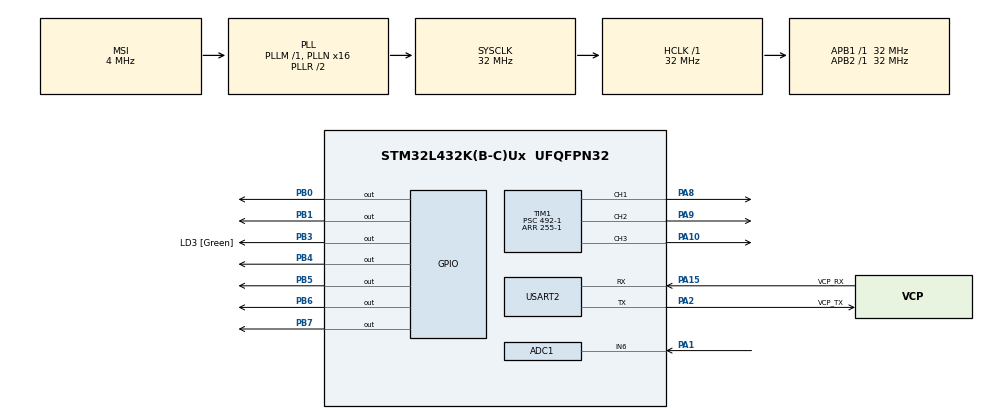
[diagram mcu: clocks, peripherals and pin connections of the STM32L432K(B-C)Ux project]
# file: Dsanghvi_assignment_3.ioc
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ADC1.Channel-0\#ChannelRegularConversion=ADC_CHANNEL_6
ADC1.NbrOfConversionFlag=1
ADC1.OffsetNumber-0\#ChannelRegularConversion=ADC_OFFSET_NONE
ADC1.Rank-0\#ChannelRegularConversion=1
ADC1.SamplingTime-0\#ChannelRegularConversion=ADC_SAMPLETIME_2CYCLES_5
ADC1.master=1
Mcu.Family=STM32L4
Mcu.Name=STM32L432K(B-C)Ux
Mcu.Package=UFQFPN32
NVIC.PriorityGroup=NVIC_PRIORITYGROUP_4
PA1.Signal=ADCx_IN6
PA10.Signal=S_TIM1_CH3
PA13\ (JTMS-SWDIO).GPIO_Label=SWDIO
PA13\ (JTMS-SWDIO).Mode=Serial_Wire
PA13\ (JTMS-SWDIO).Signal=SYS_JTMS-SWDIO
PA14\ (JTCK-SWCLK).GPIO_Label=SWCLK
PA14\ (JTCK-SWCLK).Mode=Serial_Wire
PA14\ (JTCK-SWCLK).Signal=SYS_JTCK-SWCLK
PA15\ (JTDI).GPIO_Label=VCP_RX
PA15\ (JTDI).Mode=Asynchronous
PA15\ (JTDI).Signal=USART2_RX
PA2.GPIO_Label=VCP_TX
PA2.Mode=Asynchronous
PA2.Signal=USART2_TX
PA8.Signal=S_TIM1_CH1
PA9.Signal=S_TIM1_CH2
PB0.Signal=GPIO_Output
PB1.Signal=GPIO_Output
PB3\ (JTDO-TRACESWO).GPIO_Label=LD3 [Green]
PB3\ (JTDO-TRACESWO).GPIO_PuPd=GPIO_NOPULL
PB3\ (JTDO-TRACESWO).Signal=GPIO_Output
PB4\ (NJTRST).Signal=GPIO_Output
PB5.Signal=GPIO_Output
PB6.Signal=GPIO_Output
PB7.Signal=GPIO_Output
PC14-OSC32_IN\ (PC14).Mode=LSE-External-Oscillator
PC14-OSC32_IN\ (PC14).Signal=RCC_OSC32_IN
PC15-OSC32_OUT\ (PC15).Mode=LSE-External-Oscillator
PC15-OSC32_OUT\ (PC15).Signal=RCC_OSC32_OUT
ProjectManager.HeapSize=0x200
ProjectManager.StackSize=0x400
ProjectManager.TargetToolchain=STM32CubeIDE
RCC.ADCFreq_Value=32000000
RCC.AHBFreq_Value=32000000
RCC.APB1Freq_Value=32000000
RCC.APB1TimFreq_Value=32000000
RCC.APB2Freq_Value=32000000
RCC.APB2TimFreq_Value=32000000
RCC.CortexFreq_Value=32000000
RCC.HCLKFreq_Value=32000000
RCC.HSE_VALUE=8000000
RCC.HSI16_VALUE=16000000
RCC.HSI48_VALUE=48000000
RCC.HSI_VALUE=16000000
RCC.MSI_VALUE=4000000
RCC.PLLMUL=RCC_PLLMUL_4
RCC.PLLN=16
RCC.PLLSAI1N=16
RCC.SYSCLKFreq_VALUE=32000000
RCC.SYSCLKSource=RCC_SYSCLKSOURCE_PLLCLK
RCC.USBFreq_Value=32000000
RCC.VCOOutputFreq_Value=64000000
SH.ADCx_IN6.0=ADC1_IN6,IN6-Single-Ended
SH.S_TIM1_CH1.0=TIM1_CH1,PWM Generation1 CH1
SH.S_TIM1_CH2.0=TIM1_CH2,PWM Generation2 CH2
SH.S_TIM1_CH3.0=TIM1_CH3,PWM Generation3 CH3
TIM1.Channel-PWM\ Generation1\ CH1=TIM_CHANNEL_1
TIM1.Channel-PWM\ Generation2\ CH2=TIM_CHANNEL_2
TIM1.Channel-PWM\ Generation3\ CH3=TIM_CHANNEL_3
TIM1.Period=255-1
TIM1.Prescaler=492-1
USART2.VirtualMode-Asynchronous=VM_ASYNC
VP_TIM1_VS_ClockSourceINT.Mode=Internal
board=NUCLEO-L432KC

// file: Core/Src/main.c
/* USER CODE BEGIN Header */
/*	FILE			:		Dsanghvi_assignemt_3.c

 * PROJECT			:		PROG8125-Assignment #3

 * PROGRAMMER		:		Deep Sanghvi

 *FIRST VERSION		:		2020-03-20

 *DESCRIPTION		:		The purpose of this project is to develop a software using stm32 board
 							such that it can detect the temperature using a thermostat and imply output
							according to the temperature.
 */
/**
  ******************************************************************************
  * @file           : main.c
  * @brief          : Main program body
  ******************************************************************************
  * @attention
  *
  * <h2><center>&copy; Copyright (c) 2020 STMicroelectronics.
  * All rights reserved.</center></h2>
  *
  * This software component is licensed by ST under BSD 3-Clause license,
  * the "License"; You may not use this file except in compliance with the
  * License. You may obtain a copy of the License at:
  *                        opensource.org/licenses/BSD-3-Clause
  *
  ******************************************************************************
  */
/* USER CODE END Header */

#include "main.h"
#include "stdio.h"

ADC_HandleTypeDef hadc1;

TIM_HandleTypeDef htim1;

UART_HandleTypeDef huart2;

void SystemClock_Config(void);
static void MX_GPIO_Init(void);
static void MX_USART2_UART_Init(void);
static void MX_ADC1_Init(void);
static void MX_TIM1_Init(void);

void setPWMandTurnON(TIM_HandleTypeDef* htim1, int32_t pwmPeriod);		// define the pwm timer

/* USER CODE BEGIN 0 */
void set_rgb(uint8_t red, uint8_t green, uint8_t blue)				// Function for RGB led
 {
	  htim1.Instance->CCR1 = red;
	  htim1.Instance->CCR2 = green;
	  htim1.Instance->CCR3 = blue;

 }
/* USER CODE END 0 */

int main(void)
{

  /* MCU Configuration--------------------------------------------------------*/

  /* Reset of all peripherals, Initializes the Flash interface and the Systick. */
  HAL_Init();
  HD44780_Init();

  /* Configure the system clock */
  SystemClock_Config();

  /* Initialize all configured peripherals */
  MX_GPIO_Init();
  MX_USART2_UART_Init();
  MX_ADC1_Init();
  MX_TIM1_Init();
  /* USER CODE BEGIN 2 */

  HAL_TIM_PWM_Start(&htim1, TIM_CHANNEL_1);
  HAL_TIM_PWM_Start(&htim1, TIM_CHANNEL_2);
  HAL_TIM_PWM_Start(&htim1, TIM_CHANNEL_3);

  uint32_t voltagemeasure = 0;										// Initialize variable for measuring voltage
  float temperature = 0;											// Define temperature
  float voltage = 0;												// Define voltage
  char string[20];
  /* USER CODE END 2 */

  /* Infinite loop */
  /* USER CODE BEGIN WHILE */

   while (1)
  {
	  HAL_ADC_Start(&hadc1);

	  HAL_ADC_PollForConversion(&hadc1, 1000);
 	  voltagemeasure =  HAL_ADC_GetValue(&hadc1);					// Get values from thermostat

 	  HAL_ADC_Stop(&hadc1);

 	  voltage = (voltagemeasure * 3.3) / 4096;						// Equation to calculate voltage
	  temperature = (voltage - 0.4) / 0.01 ;						// Equation to calculate temperature

      HAL_Delay(1000);
      HD44780_ClrScr();

      printf("The temperature is %0.2f'C\n", temperature);			// Display temperature on putty screen

      HD44780_GotoXY(1, 0);
      HD44780_PutStr("Temperature is");								// Print the string on lcd display

      sprintf(string ,"%0.2f'C" , temperature);						// Print temperature on lcd display

      HD44780_GotoXY(5, 1);
      HD44780_PutStr(string);

      if( temperature <= -40 )										//if-else condition to light led according to temp.
      {
    	  set_rgb(0, 0, 255);										//Turn on Blue LED
      }
      else if( temperature <=  20.5)
      {
    	  set_rgb(0, 0, 255);										// Turn on Green LED
      }
      else if( temperature <= 37.3)
      {
          set_rgb(0, 255, 0);										// Turn on Orange LED
      }
      else if( temperature <= 39.5)
      {
      	  set_rgb(255, 165, 0);										// Turn on Red LED
      }
      else if (temperature <= 150)
      {
      	  set_rgb(255, 0, 0);
      }
      else
      {
    	  set_rgb(0, 0, 0);											// Turn off LED
      }

    /* USER CODE END WHILE */

  }
}

void SystemClock_Config(void)
{
  RCC_OscInitTypeDef RCC_OscInitStruct = {0};
  RCC_ClkInitTypeDef RCC_ClkInitStruct = {0};
  RCC_PeriphCLKInitTypeDef PeriphClkInit = {0};

  /** Configure LSE Drive Capability
  */
  HAL_PWR_EnableBkUpAccess();
  __HAL_RCC_LSEDRIVE_CONFIG(RCC_LSEDRIVE_LOW);
  /** Initializes the CPU, AHB and APB busses clocks
  */
  RCC_OscInitStruct.OscillatorType = RCC_OSCILLATORTYPE_LSE|RCC_OSCILLATORTYPE_MSI;
  RCC_OscInitStruct.LSEState = RCC_LSE_ON;
  RCC_OscInitStruct.MSIState = RCC_MSI_ON;
  RCC_OscInitStruct.MSICalibrationValue = 0;
  RCC_OscInitStruct.MSIClockRange = RCC_MSIRANGE_6;
  RCC_OscInitStruct.PLL.PLLState = RCC_PLL_ON;
  RCC_OscInitStruct.PLL.PLLSource = RCC_PLLSOURCE_MSI;
  RCC_OscInitStruct.PLL.PLLM = 1;
  RCC_OscInitStruct.PLL.PLLN = 16;
  RCC_OscInitStruct.PLL.PLLP = RCC_PLLP_DIV7;
  RCC_OscInitStruct.PLL.PLLQ = RCC_PLLQ_DIV2;
  RCC_OscInitStruct.PLL.PLLR = RCC_PLLR_DIV2;
  if (HAL_RCC_OscConfig(&RCC_OscInitStruct) != HAL_OK)
  {
    Error_Handler();
  }
  /** Initializes the CPU, AHB and APB busses clocks
  */
  RCC_ClkInitStruct.ClockType = RCC_CLOCKTYPE_HCLK|RCC_CLOCKTYPE_SYSCLK
                              |RCC_CLOCKTYPE_PCLK1|RCC_CLOCKTYPE_PCLK2;
  RCC_ClkInitStruct.SYSCLKSource = RCC_SYSCLKSOURCE_PLLCLK;
  RCC_ClkInitStruct.AHBCLKDivider = RCC_SYSCLK_DIV1;
  RCC_ClkInitStruct.APB1CLKDivider = RCC_HCLK_DIV1;
  RCC_ClkInitStruct.APB2CLKDivider = RCC_HCLK_DIV1;

  if (HAL_RCC_ClockConfig(&RCC_ClkInitStruct, FLASH_LATENCY_1) != HAL_OK)
  {
    Error_Handler();
  }
  PeriphClkInit.PeriphClockSelection = RCC_PERIPHCLK_USART2|RCC_PERIPHCLK_ADC;
  PeriphClkInit.Usart2ClockSelection = RCC_USART2CLKSOURCE_PCLK1;
  PeriphClkInit.AdcClockSelection = RCC_ADCCLKSOURCE_PLLSAI1;
  PeriphClkInit.PLLSAI1.PLLSAI1Source = RCC_PLLSOURCE_MSI;
  PeriphClkInit.PLLSAI1.PLLSAI1M = 1;
  PeriphClkInit.PLLSAI1.PLLSAI1N = 16;
  PeriphClkInit.PLLSAI1.PLLSAI1P = RCC_PLLP_DIV7;
  PeriphClkInit.PLLSAI1.PLLSAI1Q = RCC_PLLQ_DIV2;
  PeriphClkInit.PLLSAI1.PLLSAI1R = RCC_PLLR_DIV2;
  PeriphClkInit.PLLSAI1.PLLSAI1ClockOut = RCC_PLLSAI1_ADC1CLK;
  if (HAL_RCCEx_PeriphCLKConfig(&PeriphClkInit) != HAL_OK)
  {
    Error_Handler();
  }
  /** Configure the main internal regulator output voltage
  */
  if (HAL_PWREx_ControlVoltageScaling(PWR_REGULATOR_VOLTAGE_SCALE1) != HAL_OK)
  {
    Error_Handler();
  }
  /** Enable MSI Auto calibration
  */
  HAL_RCCEx_EnableMSIPLLMode();
}

static void MX_ADC1_Init(void)
{

  ADC_ChannelConfTypeDef sConfig = {0};

  /** Common config
  */
  hadc1.Instance = ADC1;
  hadc1.Init.ClockPrescaler = ADC_CLOCK_ASYNC_DIV1;
  hadc1.Init.Resolution = ADC_RESOLUTION_12B;
  hadc1.Init.DataAlign = ADC_DATAALIGN_RIGHT;
  hadc1.Init.ScanConvMode = ADC_SCAN_DISABLE;
  hadc1.Init.EOCSelection = ADC_EOC_SINGLE_CONV;
  hadc1.Init.LowPowerAutoWait = DISABLE;
  hadc1.Init.ContinuousConvMode = DISABLE;
  hadc1.Init.NbrOfConversion = 1;
  hadc1.Init.DiscontinuousConvMode = DISABLE;
  hadc1.Init.NbrOfDiscConversion = 1;
  hadc1.Init.ExternalTrigConv = ADC_SOFTWARE_START;
  hadc1.Init.ExternalTrigConvEdge = ADC_EXTERNALTRIGCONVEDGE_NONE;
  hadc1.Init.DMAContinuousRequests = DISABLE;
  hadc1.Init.Overrun = ADC_OVR_DATA_PRESERVED;
  hadc1.Init.OversamplingMode = DISABLE;
  if (HAL_ADC_Init(&hadc1) != HAL_OK)
  {
    Error_Handler();
  }
  /** Configure Regular Channel
  */
  sConfig.Channel = ADC_CHANNEL_6;
  sConfig.Rank = ADC_REGULAR_RANK_1;
  sConfig.SamplingTime = ADC_SAMPLETIME_2CYCLES_5;
  sConfig.SingleDiff = ADC_SINGLE_ENDED;
  sConfig.OffsetNumber = ADC_OFFSET_NONE;
  sConfig.Offset = 0;
  if (HAL_ADC_ConfigChannel(&hadc1, &sConfig) != HAL_OK)
  {
    Error_Handler();
  }

}

static void MX_TIM1_Init(void)
{

  TIM_ClockConfigTypeDef sClockSourceConfig = {0};
  TIM_MasterConfigTypeDef sMasterConfig = {0};
  TIM_OC_InitTypeDef sConfigOC = {0};
  TIM_BreakDeadTimeConfigTypeDef sBreakDeadTimeConfig = {0};

  htim1.Instance = TIM1;
  htim1.Init.Prescaler = 492-1;
  htim1.Init.CounterMode = TIM_COUNTERMODE_UP;
  htim1.Init.Period = 255-1;
  htim1.Init.ClockDivision = TIM_CLOCKDIVISION_DIV1;
  htim1.Init.RepetitionCounter = 0;
  htim1.Init.AutoReloadPreload = TIM_AUTORELOAD_PRELOAD_DISABLE;
  if (HAL_TIM_Base_Init(&htim1) != HAL_OK)
  {
    Error_Handler();
  }
  sClockSourceConfig.ClockSource = TIM_CLOCKSOURCE_INTERNAL;
  if (HAL_TIM_ConfigClockSource(&htim1, &sClockSourceConfig) != HAL_OK)
  {
    Error_Handler();
  }
  if (HAL_TIM_PWM_Init(&htim1) != HAL_OK)
  {
    Error_Handler();
  }
  sMasterConfig.MasterOutputTrigger = TIM_TRGO_RESET;
  sMasterConfig.MasterOutputTrigger2 = TIM_TRGO2_RESET;
  sMasterConfig.MasterSlaveMode = TIM_MASTERSLAVEMODE_DISABLE;
  if (HAL_TIMEx_MasterConfigSynchronization(&htim1, &sMasterConfig) != HAL_OK)
  {
    Error_Handler();
  }
  sConfigOC.OCMode = TIM_OCMODE_PWM1;
  sConfigOC.Pulse = 0;
  sConfigOC.OCPolarity = TIM_OCPOLARITY_HIGH;
  sConfigOC.OCNPolarity = TIM_OCNPOLARITY_HIGH;
  sConfigOC.OCFastMode = TIM_OCFAST_DISABLE;
  sConfigOC.OCIdleState = TIM_OCIDLESTATE_RESET;
  sConfigOC.OCNIdleState = TIM_OCNIDLESTATE_RESET;
  if (HAL_TIM_PWM_ConfigChannel(&htim1, &sConfigOC, TIM_CHANNEL_1) != HAL_OK)
  {
    Error_Handler();
  }
  if (HAL_TIM_PWM_ConfigChannel(&htim1, &sConfigOC, TIM_CHANNEL_2) != HAL_OK)
  {
    Error_Handler();
  }
  if (HAL_TIM_PWM_ConfigChannel(&htim1, &sConfigOC, TIM_CHANNEL_3) != HAL_OK)
  {
    Error_Handler();
  }
  sBreakDeadTimeConfig.OffStateRunMode = TIM_OSSR_DISABLE;
  sBreakDeadTimeConfig.OffStateIDLEMode = TIM_OSSI_DISABLE;
  sBreakDeadTimeConfig.LockLevel = TIM_LOCKLEVEL_OFF;
  sBreakDeadTimeConfig.DeadTime = 0;
  sBreakDeadTimeConfig.BreakState = TIM_BREAK_DISABLE;
  sBreakDeadTimeConfig.BreakPolarity = TIM_BREAKPOLARITY_HIGH;
  sBreakDeadTimeConfig.BreakFilter = 0;
  sBreakDeadTimeConfig.Break2State = TIM_BREAK2_DISABLE;
  sBreakDeadTimeConfig.Break2Polarity = TIM_BREAK2POLARITY_HIGH;
  sBreakDeadTimeConfig.Break2Filter = 0;
  sBreakDeadTimeConfig.AutomaticOutput = TIM_AUTOMATICOUTPUT_DISABLE;
  if (HAL_TIMEx_ConfigBreakDeadTime(&htim1, &sBreakDeadTimeConfig) != HAL_OK)
  {
    Error_Handler();
  }
  HAL_TIM_MspPostInit(&htim1);

}

static void MX_USART2_UART_Init(void)
{

  huart2.Instance = USART2;
  huart2.Init.BaudRate = 115200;
  huart2.Init.WordLength = UART_WORDLENGTH_8B;
  huart2.Init.StopBits = UART_STOPBITS_1;
  huart2.Init.Parity = UART_PARITY_NONE;
  huart2.Init.Mode = UART_MODE_TX_RX;
  huart2.Init.HwFlowCtl = UART_HWCONTROL_NONE;
  huart2.Init.OverSampling = UART_OVERSAMPLING_16;
  huart2.Init.OneBitSampling = UART_ONE_BIT_SAMPLE_DISABLE;
  huart2.AdvancedInit.AdvFeatureInit = UART_ADVFEATURE_NO_INIT;
  if (HAL_UART_Init(&huart2) != HAL_OK)
  {
    Error_Handler();
  }

}

static void MX_GPIO_Init(void)
{
  GPIO_InitTypeDef GPIO_InitStruct = {0};

  /* GPIO Ports Clock Enable */
  __HAL_RCC_GPIOC_CLK_ENABLE();
  __HAL_RCC_GPIOA_CLK_ENABLE();
  __HAL_RCC_GPIOB_CLK_ENABLE();

  /*Configure GPIO pin Output Level */
  HAL_GPIO_WritePin(GPIOB, GPIO_PIN_0|GPIO_PIN_1|LD3_Pin|GPIO_PIN_4
                          |GPIO_PIN_5|GPIO_PIN_6|GPIO_PIN_7, GPIO_PIN_RESET);

  /*Configure GPIO pins : PB0 PB1 LD3_Pin PB4
                           PB5 PB6 PB7 */
  GPIO_InitStruct.Pin = GPIO_PIN_0|GPIO_PIN_1|LD3_Pin|GPIO_PIN_4
                          |GPIO_PIN_5|GPIO_PIN_6|GPIO_PIN_7;
  GPIO_InitStruct.Mode = GPIO_MODE_OUTPUT_PP;
  GPIO_InitStruct.Pull = GPIO_NOPULL;
  GPIO_InitStruct.Speed = GPIO_SPEED_FREQ_LOW;
  HAL_GPIO_Init(GPIOB, &GPIO_InitStruct);

}

/* USER CODE BEGIN 4 */

void setPWMandTurnON(TIM_HandleTypeDef* htim1, int32_t pwmPeriod) {
	TIM_MasterConfigTypeDef sMasterConfig;
	TIM_OC_InitTypeDef sConfigOC;
	TIM_BreakDeadTimeConfigTypeDef sBreakDeadTimeConfig;
	htim1->Instance = TIM1;
	htim1->Init.Prescaler = 0;
	htim1->Init.CounterMode = TIM_COUNTERMODE_UP;
	htim1->Init.Period = pwmPeriod;
	htim1->Init.ClockDivision = TIM_CLOCKDIVISION_DIV1;
	htim1->Init.RepetitionCounter = 0;
	if (HAL_TIM_PWM_Init(&*htim1) != HAL_OK) {
		Error_Handler();
	}
	sMasterConfig.MasterOutputTrigger = TIM_TRGO_RESET;
	sMasterConfig.MasterOutputTrigger2 = TIM_TRGO2_RESET;
	sMasterConfig.MasterSlaveMode = TIM_MASTERSLAVEMODE_DISABLE;
	if (HAL_TIMEx_MasterConfigSynchronization(&*htim1, &sMasterConfig)
			!= HAL_OK) {
		Error_Handler();
	}
	/* adding this as ST Tech Support said PWM should be stopped before
	 * calling HAL_TIM_PWM_ConfigChannel and I've been getting flakey start-up
	 * i.e.: sometime PWM starts up, other times the line remains stuck high.
	 **************************************/
	HAL_TIM_PWM_Stop(&*htim1, TIM_CHANNEL_1);
	/*************************************/
	sConfigOC.OCMode = TIM_OCMODE_PWM1;
	sConfigOC.Pulse = pwmPeriod / 2;
	sConfigOC.OCPolarity = TIM_OCPOLARITY_HIGH;
	sConfigOC.OCNPolarity = TIM_OCNPOLARITY_HIGH;
	sConfigOC.OCFastMode = TIM_OCFAST_DISABLE;
	sConfigOC.OCIdleState = TIM_OCIDLESTATE_RESET;
	sConfigOC.OCNIdleState = TIM_OCNIDLESTATE_RESET;
	if (HAL_TIM_PWM_ConfigChannel(&*htim1, &sConfigOC, TIM_CHANNEL_1)
			!= HAL_OK) {
		Error_Handler();
	}
	sBreakDeadTimeConfig.OffStateRunMode = TIM_OSSR_DISABLE;
	sBreakDeadTimeConfig.OffStateIDLEMode = TIM_OSSI_DISABLE;
	sBreakDeadTimeConfig.LockLevel = TIM_LOCKLEVEL_OFF;
	sBreakDeadTimeConfig.DeadTime = 0;
	sBreakDeadTimeConfig.BreakState = TIM_BREAK_DISABLE;
	sBreakDeadTimeConfig.BreakPolarity = TIM_BREAKPOLARITY_HIGH;
	sBreakDeadTimeConfig.BreakFilter = 0;
	sBreakDeadTimeConfig.Break2State = TIM_BREAK2_DISABLE;
	sBreakDeadTimeConfig.Break2Polarity = TIM_BREAK2POLARITY_HIGH;
	sBreakDeadTimeConfig.Break2Filter = 0;
	sBreakDeadTimeConfig.AutomaticOutput = TIM_AUTOMATICOUTPUT_DISABLE;
	if (HAL_TIMEx_ConfigBreakDeadTime(&*htim1, &sBreakDeadTimeConfig)
			!= HAL_OK) {
		Error_Handler();
	}
	HAL_TIMEx_PWMN_Start(&*htim1, TIM_CHANNEL_1);
}
/* USER CODE END 4 */

void Error_Handler(void)
{
}

/************************ (C) COPYRIGHT STMicroelectronics *****END OF FILE****/
